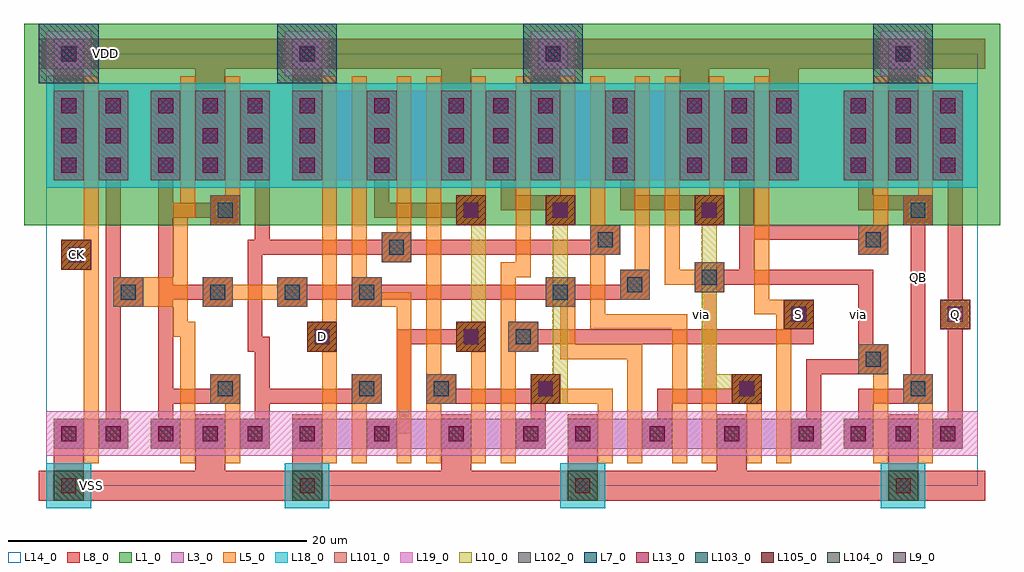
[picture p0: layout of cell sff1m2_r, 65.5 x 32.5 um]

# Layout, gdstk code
import gdstk
lib = gdstk.Library(unit=1e-6, precision=1e-09)
def R(c, l, rs):  # rectangles x0, y0, x1, y1
    for r in rs: c.add(gdstk.rectangle(r[:2], r[2:], *l))
L1_0 = (1, 0)
L3_0 = (3, 0)
L5_0 = (5, 0)
L7_0 = (7, 0)
L8_0 = (8, 0)
L9_0 = (9, 0)
L10_0 = (10, 0)
L13_0 = (13, 0)
L14_0 = (14, 0)
L18_0 = (18, 0)
L19_0 = (19, 0)
L101_0 = (101, 0)
L102_0 = (102, 0)
L103_0 = (103, 0)
L104_0 = (104, 0)
L105_0 = (105, 0)

dcont = lib.new_cell('dcont')
R(dcont, L3_0, [(-1,-1,1,1)])
R(dcont, L7_0, [(-0.5,-0.5,0.5,0.5)])
R(dcont, L8_0, [(-1,-1,1,1)])
R(dcont, L13_0, [(-0.5,-0.5,0.5,0.5)])
R(dcont, L101_0, [(-1,-1,1,1)])
dcont.add(gdstk.Label('dcont', (0,0), layer=13, texttype=0))

pcont = lib.new_cell('pcont')
R(pcont, L5_0, [(-1,-1,1,1)])
R(pcont, L7_0, [(-0.5,-0.5,0.5,0.5)])
R(pcont, L8_0, [(-1,-1,1,1)])
R(pcont, L102_0, [(-1,-1,1,1)])
pcont.add(gdstk.Label('pcont', (0,0), layer=13, texttype=0))

via = lib.new_cell('Via')
R(via, L8_0, [(-1,-1,1,1)])
R(via, L9_0, [(-0.5,-0.5,0.5,0.5)])
R(via, L10_0, [(-1,-1,1,1)])
R(via, L13_0, [(-0.5,-0.5,0.5,0.5)])
R(via, L105_0, [(-1,-1,1,1)])
via.add(gdstk.Label('via', (0,0), layer=13, texttype=0))

nsubcont = lib.new_cell('nsubcont')
R(nsubcont, L1_0, [(-2,-2,2,2)])
R(nsubcont, L19_0, [(-1.5,-1.5,1.5,1.5)])
R(nsubcont, L103_0, [(-2,-2,2,2)])
nsubcont.add(gdstk.Reference(dcont, (0,0)))
nsubcont.add(gdstk.Label('NScont', (0,0), layer=13, texttype=0))

psubcont = lib.new_cell('psubcont')
R(psubcont, L18_0, [(-1.5,-1.5,1.5,1.5)])
R(psubcont, L104_0, [(-1,-1,1,1)])
psubcont.add(gdstk.Reference(dcont, (0,0)))
psubcont.add(gdstk.Label('PScon', (0,0), layer=13, texttype=0))

sff1m2_r = lib.new_cell('sff1m2_r')
R(sff1m2_r, L1_0, [(-1.5,17.5,8,31), (5,17.5,64,31)])
R(sff1m2_r, L3_0, [(0.5,2.5,5.5,4.5), (7,2.5,15,4.5), (16.5,2.5,33.5,4.5), (35,2.5,52,4.5), (53.5,2.5,61.5,4.5), (0.5,20.5,5.5,26.5), (7,20.5,15,26.5), (16.5,20.5,50.5,26.5), (53.5,20.5,61.5,26.5)])
R(sff1m2_r, L5_0, [(6.5,12,8.6,14)])
R(sff1m2_r, L8_0, [(-0.5,-1,63,1), (-0.5,-1,7,1), (6,-1,63,1), (17.5,9,19.5,11), (17.5,9,19.5,11), (49.5,10.5,51.5,12.5), (49.5,10.5,51.5,12.5), (60,10.5,62,12.5), (60,10.5,62,12.5), (1,14.5,3,16.5), (1,14.5,3,16.5), (-0.5,28,63,30), (-0.5,28,7,30), (6,28,63,30)])
R(sff1m2_r, L10_0, [(17.5,9,19.5,11), (17.5,9,19.5,11), (49.5,10.5,51.5,12.5), (60,10.5,62,12.5), (60,10.5,62,12.5), (49.5,11,51.5,12.5), (1,14.5,3,16.5), (1,14.5,3,16.5)])
R(sff1m2_r, L14_0, [(0,0,62.5,29)])
R(sff1m2_r, L18_0, [(0,20,6.5,27), (6.5,20,62.5,27)])
R(sff1m2_r, L19_0, [(0,2,6.5,5), (6.5,2,62.5,5)])
R(sff1m2_r, L105_0, [(17.5,9,19.5,11), (49.5,10.5,51.5,12.5), (60,10.5,62,12.5), (1,14.5,3,16.5)])
sff1m2_r.add(gdstk.FlexPath([(12.5,2),(12.5,7)], 1, ends="extended", simple_path=True, layer=5, datatype=0))  # L5_0
sff1m2_r.add(gdstk.FlexPath([(12.5,18.6),(12.5,27)], 1, ends="extended", simple_path=True, layer=5, datatype=0))  # L5_0
sff1m2_r.add(gdstk.FlexPath([(16.5,13),(11.6,13)], 1, ends="extended", simple_path=True, layer=5, datatype=0))  # L5_0
sff1m2_r.add(gdstk.FlexPath([(19,27),(19,2)], 1, ends="extended", simple_path=True, layer=5, datatype=0))  # L5_0
sff1m2_r.add(gdstk.FlexPath([(21,2),(21,6.8)], 1, ends="extended", simple_path=True, layer=5, datatype=0))  # L5_0
sff1m2_r.add(gdstk.FlexPath([(24,2),(24,12.5),(21,12.5),(21,27)], 1, ends="extended", simple_path=True, layer=5, datatype=0))  # L5_0
sff1m2_r.add(gdstk.FlexPath([(24,15.8),(24,27)], 1, ends="extended", simple_path=True, layer=5, datatype=0))  # L5_0
sff1m2_r.add(gdstk.FlexPath([(26,27),(26,2)], 1, ends="extended", simple_path=True, layer=5, datatype=0))  # L5_0
sff1m2_r.add(gdstk.FlexPath([(29,2),(29,10)], 1, ends="extended", simple_path=True, layer=5, datatype=0))  # L5_0
sff1m2_r.add(gdstk.FlexPath([(29,18.7),(29,27)], 1, ends="extended", simple_path=True, layer=5, datatype=0))  # L5_0
sff1m2_r.add(gdstk.FlexPath([(31,2),(31,14.5),(32,14.5),(32,27)], 1, ends="extended", simple_path=True, layer=5, datatype=0))  # L5_0
sff1m2_r.add(gdstk.FlexPath([(34.5,19),(35,19),(35,27)], 1, ends="extended", simple_path=True, layer=5, datatype=0))  # L5_0
sff1m2_r.add(gdstk.FlexPath([(37.5,2),(37.5,6),(33.8,6)], 1, ends="extended", simple_path=True, layer=5, datatype=0))  # L5_0
sff1m2_r.add(gdstk.FlexPath([(39.5,2),(39.5,9),(35,9),(35,13)], 1, ends="extended", simple_path=True, layer=5, datatype=0))  # L5_0
sff1m2_r.add(gdstk.FlexPath([(42.5,2),(42.5,11),(37,11),(37,27)], 1, ends="extended", simple_path=True, layer=5, datatype=0))  # L5_0
sff1m2_r.add(gdstk.FlexPath([(40,27),(40,13.7)], 1, ends="extended", simple_path=True, layer=5, datatype=0))  # L5_0
sff1m2_r.add(gdstk.FlexPath([(44.5,2),(44.5,14),(42,14),(42,27)], 1, ends="extended", simple_path=True, layer=5, datatype=0))  # L5_0
sff1m2_r.add(gdstk.FlexPath([(45,27),(45,18.7)], 1, ends="extended", simple_path=True, layer=5, datatype=0))  # L5_0
sff1m2_r.add(gdstk.FlexPath([(47.5,6.8),(47.5,2)], 1, ends="extended", simple_path=True, layer=5, datatype=0))  # L5_0
sff1m2_r.add(gdstk.FlexPath([(49.5,2),(49.5,12),(48,12),(48,27)], 1, ends="extended", simple_path=True, layer=5, datatype=0))  # L5_0
sff1m2_r.add(gdstk.FlexPath([(56,2),(56,8.9)], 1, ends="extended", simple_path=True, layer=5, datatype=0))  # L5_0
sff1m2_r.add(gdstk.FlexPath([(56,16.7),(56,27)], 1, ends="extended", simple_path=True, layer=5, datatype=0))  # L5_0
sff1m2_r.add(gdstk.FlexPath([(59,2),(59,6.5)], 1, ends="extended", simple_path=True, layer=5, datatype=0))  # L5_0
sff1m2_r.add(gdstk.FlexPath([(59,18.1),(59,27)], 1, ends="extended", simple_path=True, layer=5, datatype=0))  # L5_0
sff1m2_r.add(gdstk.FlexPath([(9.5,27),(9.5,18.5),(9,18.5),(9,10.5),(9.5,10.5),(9.5,2)], 1, ends="extended", simple_path=True, layer=5, datatype=0))  # L5_0
sff1m2_r.add(gdstk.FlexPath([(3,27),(3,2)], 1, ends="extended", simple_path=True, layer=5, datatype=0))  # L5_0
sff1m2_r.add(gdstk.FlexPath([(4.5,20.5),(4.5,3.8)], 1, ends="extended", simple_path=True, layer=8, datatype=0))  # L8_0
sff1m2_r.add(gdstk.FlexPath([(4.5,22.3),(4.5,25.5)], 1.4, ends="extended", simple_path=True, layer=8, datatype=0))  # L8_0
sff1m2_r.add(gdstk.FlexPath([(1.5,1),(1.5,3.5)], 2, ends="extended", simple_path=True, layer=8, datatype=0))  # L8_0
sff1m2_r.add(gdstk.FlexPath([(1.5,21.5),(1.5,28.5)], 2, ends="extended", simple_path=True, layer=8, datatype=0))  # L8_0
sff1m2_r.add(gdstk.FlexPath([(61,3.3),(61,26)], 1, ends="extended", simple_path=True, layer=8, datatype=0))  # L8_0
sff1m2_r.add(gdstk.FlexPath([(60.5,22.3),(60.5,25.5)], 1.4, ends="extended", simple_path=True, layer=8, datatype=0))  # L8_0
sff1m2_r.add(gdstk.FlexPath([(57.5,22.6),(57.5,28.5)], 2, ends="extended", simple_path=True, layer=8, datatype=0))  # L8_0
sff1m2_r.add(gdstk.FlexPath([(57.5,1),(57.5,3.8)], 2, ends="extended", simple_path=True, layer=8, datatype=0))  # L8_0
sff1m2_r.add(gdstk.FlexPath([(55,26),(55,19),(58.5,19),(58.5,6),(55,6),(55,3.6)], 1, ends="extended", simple_path=True, layer=8, datatype=0))  # L8_0
sff1m2_r.add(gdstk.FlexPath([(54.5,22.3),(54.5,25.5)], 1.4, ends="extended", simple_path=True, layer=8, datatype=0))  # L8_0
sff1m2_r.add(gdstk.FlexPath([(55.8,17),(47,17)], 1, ends="extended", simple_path=True, layer=8, datatype=0))  # L8_0
sff1m2_r.add(gdstk.FlexPath([(51.5,3.8),(51.5,8),(55,8),(55,14),(44.9,14)], 1, ends="extended", simple_path=True, layer=8, datatype=0))  # L8_0
sff1m2_r.add(gdstk.FlexPath([(49.5,22.6),(49.5,28.5)], 2, ends="extended", simple_path=True, layer=8, datatype=0))  # L8_0
sff1m2_r.add(gdstk.FlexPath([(47,14),(47,21.5)], 1, ends="extended", simple_path=True, layer=8, datatype=0))  # L8_0
sff1m2_r.add(gdstk.FlexPath([(46,1),(46,3.8)], 2, ends="extended", simple_path=True, layer=8, datatype=0))  # L8_0
sff1m2_r.add(gdstk.FlexPath([(41.5,3.8),(41.5,6),(46.8,6)], 1, ends="extended", simple_path=True, layer=8, datatype=0))  # L8_0
sff1m2_r.add(gdstk.FlexPath([(43.5,22.6),(43.5,28.5)], 2, ends="extended", simple_path=True, layer=8, datatype=0))  # L8_0
sff1m2_r.add(gdstk.FlexPath([(39,22.6),(39,19),(45,19)], 1, ends="extended", simple_path=True, layer=8, datatype=0))  # L8_0
sff1m2_r.add(gdstk.FlexPath([(32.1,10),(51,10)], 1, ends="extended", simple_path=True, layer=8, datatype=0))  # L8_0
sff1m2_r.add(gdstk.FlexPath([(38.5,22.3),(38.5,25.5)], 1.4, ends="extended", simple_path=True, layer=8, datatype=0))  # L8_0
sff1m2_r.add(gdstk.FlexPath([(36,1),(36,3.8)], 2, ends="extended", simple_path=True, layer=8, datatype=0))  # L8_0
sff1m2_r.add(gdstk.FlexPath([(33.5,23.8),(33.5,28.5)], 2, ends="extended", simple_path=True, layer=8, datatype=0))  # L8_0
sff1m2_r.add(gdstk.FlexPath([(33,3.5),(33,6.1)], 1, ends="extended", simple_path=True, layer=8, datatype=0))  # L8_0
sff1m2_r.add(gdstk.FlexPath([(31,19),(34.3,19),(34.3,18.7)], 1, ends="extended", simple_path=True, layer=8, datatype=0))  # L8_0
sff1m2_r.add(gdstk.FlexPath([(30.5,21.5),(30.5,25.5)], 1.4, ends="extended", simple_path=True, layer=8, datatype=0))  # L8_0
sff1m2_r.add(gdstk.FlexPath([(32.9,6),(27,6)], 1, ends="extended", simple_path=True, layer=8, datatype=0))  # L8_0
sff1m2_r.add(gdstk.FlexPath([(40,13),(16.8,13)], 1, ends="extended", simple_path=True, layer=8, datatype=0))  # L8_0
sff1m2_r.add(gdstk.FlexPath([(27.5,1),(27.5,3.8)], 2, ends="extended", simple_path=True, layer=8, datatype=0))  # L8_0
sff1m2_r.add(gdstk.FlexPath([(27.5,22.6),(27.5,28.5)], 2, ends="extended", simple_path=True, layer=8, datatype=0))  # L8_0
sff1m2_r.add(gdstk.FlexPath([(14.8,16),(37.8,16)], 1, ends="extended", simple_path=True, layer=8, datatype=0))  # L8_0
sff1m2_r.add(gdstk.FlexPath([(22.8,3.8),(22.8,4),(24,4),(24,10),(28.9,10)], 1, ends="extended", simple_path=True, layer=8, datatype=0))  # L8_0
sff1m2_r.add(gdstk.FlexPath([(22.5,22.3),(22.5,18.5),(28.5,18.5)], 1, ends="extended", simple_path=True, layer=8, datatype=0))  # L8_0
sff1m2_r.add(gdstk.FlexPath([(22.5,22.3),(22.5,25.5)], 1.4, ends="extended", simple_path=True, layer=8, datatype=0))  # L8_0
sff1m2_r.add(gdstk.FlexPath([(21.5,6),(14.5,6)], 1, ends="extended", simple_path=True, layer=8, datatype=0))  # L8_0
sff1m2_r.add(gdstk.FlexPath([(17.5,22.6),(17.5,28.5)], 2, ends="extended", simple_path=True, layer=8, datatype=0))  # L8_0
sff1m2_r.add(gdstk.FlexPath([(17.5,1),(17.5,3.8)], 2, ends="extended", simple_path=True, layer=8, datatype=0))  # L8_0
sff1m2_r.add(gdstk.FlexPath([(14.5,3.6),(14.5,9.5),(14,9.5),(14,16),(14.5,16),(14.5,26)], 1, ends="extended", simple_path=True, layer=8, datatype=0))  # L8_0
sff1m2_r.add(gdstk.FlexPath([(11,1),(11,3.8)], 2, ends="extended", simple_path=True, layer=8, datatype=0))  # L8_0
sff1m2_r.add(gdstk.FlexPath([(11,22.6),(11,28.5)], 2, ends="extended", simple_path=True, layer=8, datatype=0))  # L8_0
sff1m2_r.add(gdstk.FlexPath([(12.4,6),(8,6)], 1, ends="extended", simple_path=True, layer=8, datatype=0))  # L8_0
sff1m2_r.add(gdstk.FlexPath([(12.1,18.5),(8,18.5)], 1, ends="extended", simple_path=True, layer=8, datatype=0))  # L8_0
sff1m2_r.add(gdstk.FlexPath([(11.8,13),(8.3,13)], 1, ends="extended", simple_path=True, layer=8, datatype=0))  # L8_0
sff1m2_r.add(gdstk.FlexPath([(8,22.3),(8,25.5)], 1.4, ends="extended", simple_path=True, layer=8, datatype=0))  # L8_0
sff1m2_r.add(gdstk.FlexPath([(8,26),(8,3.6)], 1, ends="extended", simple_path=True, layer=8, datatype=0))  # L8_0
sff1m2_r.add(gdstk.FlexPath([(31,19),(31,21.4)], 1, ends="extended", simple_path=True, layer=8, datatype=0))  # L8_0
sff1m2_r.add(gdstk.FlexPath([(44.5,18.7),(44.5,7),(47.5,7)], 1, ends="extended", simple_path=True, layer=10, datatype=0))  # L10_0
sff1m2_r.add(gdstk.FlexPath([(34.5,18.4),(34.5,6)], 1, ends="extended", simple_path=True, layer=10, datatype=0))  # L10_0
sff1m2_r.add(gdstk.FlexPath([(29,18.7),(29,10)], 1, ends="extended", simple_path=True, layer=10, datatype=0))  # L10_0
sff1m2_r.add(gdstk.Reference(dcont, (30.5,21.5)))
sff1m2_r.add(gdstk.Reference(dcont, (30.5,23.5)))
sff1m2_r.add(gdstk.Reference(dcont, (30.5,25.5)))
sff1m2_r.add(gdstk.Reference(pcont, (44.5,14)))
sff1m2_r.add(gdstk.Reference(via, (2,15.5)))
sff1m2_r.add(gdstk.Reference(pcont, (2,15.5)))
sff1m2_r.add(gdstk.Reference(dcont, (38.5,21.5)))
sff1m2_r.add(gdstk.Reference(pcont, (37.5,16.5)))
sff1m2_r.add(gdstk.Reference(pcont, (34.5,18.5)))
sff1m2_r.add(gdstk.Reference(pcont, (55.5,16.5)))
sff1m2_r.add(gdstk.Reference(via, (34.5,18.5)))
sff1m2_r.add(gdstk.Reference(dcont, (38.5,25.5)))
sff1m2_r.add(gdstk.Reference(dcont, (60.5,25.5)))
sff1m2_r.add(gdstk.Reference(dcont, (33.5,23.5)))
sff1m2_r.add(gdstk.Reference(dcont, (49.5,21.5)))
sff1m2_r.add(gdstk.Reference(dcont, (60.5,23.5)))
sff1m2_r.add(gdstk.Reference(dcont, (57.5,21.5)))
sff1m2_r.add(gdstk.Reference(dcont, (33.5,25.5)))
sff1m2_r.add(gdstk.Reference(dcont, (60.5,21.5)))
sff1m2_r.add(gdstk.Reference(dcont, (33.5,21.5)))
sff1m2_r.add(gdstk.Reference(dcont, (49.5,23.5)))
sff1m2_r.add(gdstk.Reference(nsubcont, (34,29)))
sff1m2_r.add(gdstk.Reference(nsubcont, (57.5,29)))
sff1m2_r.add(gdstk.Reference(dcont, (49.5,25.5)))
sff1m2_r.add(gdstk.Reference(dcont, (43.5,21.5)))
sff1m2_r.add(gdstk.Reference(dcont, (57.5,23.5)))
sff1m2_r.add(gdstk.Reference(dcont, (54.5,23.5)))
sff1m2_r.add(gdstk.Reference(dcont, (57.5,25.5)))
sff1m2_r.add(gdstk.Reference(dcont, (43.5,25.5)))
sff1m2_r.add(gdstk.Reference(via, (44.5,18.5)))
sff1m2_r.add(gdstk.Reference(dcont, (54.5,21.5)))
sff1m2_r.add(gdstk.Reference(dcont, (43.5,23.5)))
sff1m2_r.add(gdstk.Reference(dcont, (46.5,21.5)))
sff1m2_r.add(gdstk.Reference(dcont, (54.5,25.5)))
sff1m2_r.add(gdstk.Reference(dcont, (46.5,25.5)))
sff1m2_r.add(gdstk.Reference(dcont, (46.5,23.5)))
sff1m2_r.add(gdstk.Reference(pcont, (44.5,18.5)))
sff1m2_r.add(gdstk.Reference(pcont, (58.5,18.5)))
sff1m2_r.add(gdstk.Reference(dcont, (38.5,23.5)))
sff1m2_r.add(gdstk.Reference(dcont, (27.5,23.5)))
sff1m2_r.add(gdstk.Reference(dcont, (17.5,21.5)))
sff1m2_r.add(gdstk.Reference(dcont, (4.5,21.5)))
sff1m2_r.add(gdstk.Reference(dcont, (22.5,25.5)))
sff1m2_r.add(gdstk.Reference(dcont, (11,25.5)))
sff1m2_r.add(gdstk.Reference(nsubcont, (17.5,29)))
sff1m2_r.add(gdstk.Reference(nsubcont, (1.5,29)))
sff1m2_r.add(gdstk.Reference(dcont, (17.5,23.5)))
sff1m2_r.add(gdstk.Reference(dcont, (11,23.5)))
sff1m2_r.add(gdstk.Reference(dcont, (27.5,21.5)))
sff1m2_r.add(gdstk.Reference(pcont, (28.5,18.5)))
sff1m2_r.add(gdstk.Reference(dcont, (14,23.5)))
sff1m2_r.add(gdstk.Reference(dcont, (22.5,23.5)))
sff1m2_r.add(gdstk.Reference(pcont, (12,18.5)))
sff1m2_r.add(gdstk.Reference(dcont, (1.5,23.5)))
sff1m2_r.add(gdstk.Reference(dcont, (17.5,25.5)))
sff1m2_r.add(gdstk.Reference(dcont, (4.5,25.5)))
sff1m2_r.add(gdstk.Reference(dcont, (22.5,21.5)))
sff1m2_r.add(gdstk.Reference(via, (28.5,18.5)))
sff1m2_r.add(gdstk.Reference(dcont, (14,21.5)))
sff1m2_r.add(gdstk.Reference(dcont, (8,21.5)))
sff1m2_r.add(gdstk.Reference(dcont, (8,23.5)))
sff1m2_r.add(gdstk.Reference(dcont, (27.5,25.5)))
sff1m2_r.add(gdstk.Reference(dcont, (8,25.5)))
sff1m2_r.add(gdstk.Reference(pcont, (23.5,16)))
sff1m2_r.add(gdstk.Reference(dcont, (4.5,23.5)))
sff1m2_r.add(gdstk.Reference(dcont, (1.5,25.5)))
sff1m2_r.add(gdstk.Reference(dcont, (14,25.5)))
sff1m2_r.add(gdstk.Reference(dcont, (1.5,21.5)))
sff1m2_r.add(gdstk.Reference(dcont, (11,21.5)))
sff1m2_r.add(gdstk.Reference(pcont, (26.5,6.5)))
sff1m2_r.add(gdstk.Reference(pcont, (21.5,13)))
sff1m2_r.add(gdstk.Reference(dcont, (14,3.5)))
sff1m2_r.add(gdstk.Reference(dcont, (22.5,3.5)))
sff1m2_r.add(gdstk.Reference(pcont, (18.5,10)))
sff1m2_r.add(gdstk.Reference(pcont, (21.5,6.5)))
sff1m2_r.add(gdstk.Reference(via, (18.5,10)))
sff1m2_r.add(gdstk.Reference(dcont, (4.5,3.5)))
sff1m2_r.add(gdstk.Reference(psubcont, (17.5,0)))
sff1m2_r.add(gdstk.Reference(pcont, (12,6.5)))
sff1m2_r.add(gdstk.Reference(pcont, (16.5,13)))
sff1m2_r.add(gdstk.Reference(pcont, (11.5,13)))
sff1m2_r.add(gdstk.Reference(pcont, (28.5,10)))
sff1m2_r.add(gdstk.Reference(dcont, (11,3.5)))
sff1m2_r.add(gdstk.Reference(via, (28.5,10)))
sff1m2_r.add(gdstk.Reference(psubcont, (1.5,0)))
sff1m2_r.add(gdstk.Reference(dcont, (1.5,3.5)))
sff1m2_r.add(gdstk.Reference(dcont, (27.5,3.5)))
sff1m2_r.add(gdstk.Reference(dcont, (17.5,3.5)))
sff1m2_r.add(gdstk.Reference(dcont, (8,3.5)))
sff1m2_r.add(gdstk.Reference(pcont, (5.5,13)))
sff1m2_r.add(gdstk.Reference(via, (61,11.5)))
sff1m2_r.add(gdstk.Reference(pcont, (47,6.5)))
sff1m2_r.add(gdstk.Reference(pcont, (32,10)))
sff1m2_r.add(gdstk.Reference(dcont, (41,3.5)))
sff1m2_r.add(gdstk.Reference(pcont, (50.5,11.5)))
sff1m2_r.add(gdstk.Reference(psubcont, (36,0)))
sff1m2_r.add(gdstk.Reference(dcont, (36,3.5)))
sff1m2_r.add(gdstk.Reference(pcont, (33.5,6.5)))
sff1m2_r.add(gdstk.Reference(dcont, (60.5,3.5)))
sff1m2_r.add(gdstk.Reference(psubcont, (57.5,0)))
sff1m2_r.add(gdstk.Reference(pcont, (39.5,13.5)))
sff1m2_r.add(gdstk.Reference(dcont, (32.5,3.5)))
sff1m2_r.add(gdstk.Reference(dcont, (46,3.5)))
sff1m2_r.add(gdstk.Reference(pcont, (55.5,8.5)))
sff1m2_r.add(gdstk.Reference(dcont, (57.5,3.5)))
sff1m2_r.add(gdstk.Reference(via, (47,6.5)))
sff1m2_r.add(gdstk.Reference(dcont, (51,3.5)))
sff1m2_r.add(gdstk.Reference(pcont, (58.5,6.5)))
sff1m2_r.add(gdstk.Reference(pcont, (34.5,13)))
sff1m2_r.add(gdstk.Reference(dcont, (54.5,3.5)))
sff1m2_r.add(gdstk.Reference(via, (50.5,11.5)))
sff1m2_r.add(gdstk.Reference(via, (33.5,6.5)))
sff1m2_r.add(gdstk.Label('VSS', (3,0), layer=8, texttype=0))
sff1m2_r.add(gdstk.Label('VDD', (4,29), layer=8, texttype=0))
sff1m2_r.add(gdstk.Label('QB', (58.5,14), layer=8, texttype=0))
sff1m2_r.add(gdstk.Label('CK', (2,15.5), layer=10, texttype=0))
sff1m2_r.add(gdstk.Label('D', (18.5,10), layer=10, texttype=0))
sff1m2_r.add(gdstk.Label('S', (50.5,11.5), layer=10, texttype=0))
sff1m2_r.add(gdstk.Label('Q', (61,11.5), layer=10, texttype=0))
sff1m2_r.add(gdstk.Label('via', (54.5,11.5), layer=13, texttype=0))
sff1m2_r.add(gdstk.Label('via', (44,11.5), layer=13, texttype=0))

lib.write_gds('sff1m2_r.gds')
